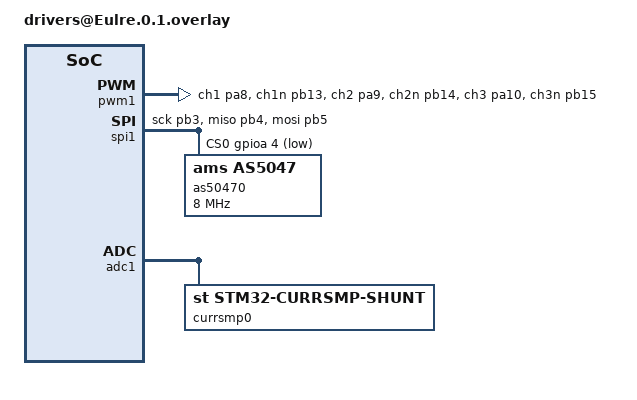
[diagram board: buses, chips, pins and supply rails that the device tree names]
/* 必须有根节点 /，然后把要修改/新增的内容写在里面 */
/ {
	/* 统一把 motors 放在根节点下，避免散落在各处 */
	motors {
		motor0: motor_0 {
			compatible = "motor-bldc";
			feedback = <&as50470>;
			currsmp  = <&currsmp0>;
			pwm      = <&pwm1>;
			status   = "okay";
		};
	};
};

/* 以下全部是“追加/覆盖”已存在的外设节点，用 &label {} 语法 */
&timers1 {
	pwm1: pwm {
		compatible = "st,stm32-pwm-custom";
		pinctrl-0 = <&tim1_ch1_pa8  &tim1_ch1n_pb13
			     &tim1_ch2_pa9  &tim1_ch2n_pb14
			     &tim1_ch3_pa10 &tim1_ch3n_pb15>;
		pinctrl-names = "default";
		timing-params = <120 13750 0>;
		slave = <0>;
		status = "okay";
	};
};

&spi1 {
	status = "okay";                       
	pinctrl-0 = <&spi1_sck_pb3          
		     &spi1_miso_pb4
		     &spi1_mosi_pb5>;
	pinctrl-names = "default";
	cs-gpios = <&gpioa 4 (GPIO_ACTIVE_LOW | GPIO_PULL_UP)>;

	as50470: as5047p@0 {
		compatible = "ams,as5047";
		reg = <0>;
		status = "okay";
		spi-max-frequency = <8000000>; /* 1MHZ */
	};
};

&adc1 {
	currsmp0: currsmp {
		compatible = "st,stm32-currsmp-shunt";
		pinctrl-0 = <&adc1_in3_pa2 &adc1_in12_pb1
			     &adc1_in11_pb12 &adc2_in3_pa6>;
		pinctrl-names = "default";
		adc-channels = <3 12 11 3>;
		adc-slave = <0>;
		status = "okay";
	};
};
